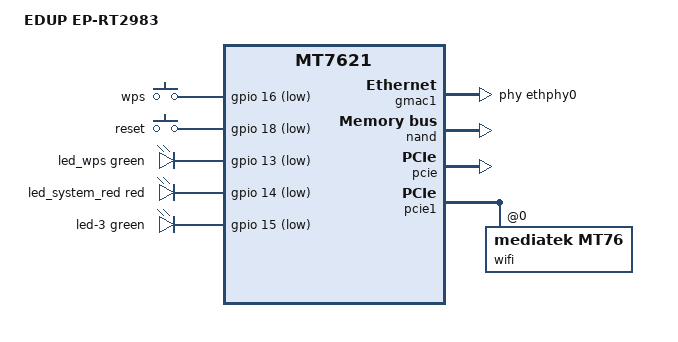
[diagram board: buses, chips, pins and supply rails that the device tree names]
// SPDX-License-Identifier: GPL-2.0-or-later OR MIT

#include "mt7621.dtsi"

#include <dt-bindings/gpio/gpio.h>
#include <dt-bindings/input/input.h>
#include <dt-bindings/leds/common.h>

/ {
	compatible = "edup,ep-rt2983", "mediatek,mt7621-soc";
	model = "EDUP EP-RT2983";

	aliases {
		label-mac-device = &gmac0;

		led-boot = &led_wps;
		led-failsafe = &led_system_red;
		led-upgrade = &led_system_red;
	};

	chosen {
		bootargs = "console=ttyS0,115200";
	};

	keys {
		compatible = "gpio-keys";

		key-0 {
			label = "wps";
			gpios = <&gpio 16 GPIO_ACTIVE_LOW>;
			linux,code = <KEY_WPS_BUTTON>;
			debounce-interval = <60>;
		};

		key-1 {
			label = "reset";
			gpios = <&gpio 18 GPIO_ACTIVE_LOW>;
			linux,code = <KEY_RESTART>;
			debounce-interval = <60>;
		};
	};

	leds {
		compatible = "gpio-leds";

		led_wps: led-1 {
			color = <LED_COLOR_ID_GREEN>;
			function = LED_FUNCTION_WPS;
			gpios = <&gpio 13 GPIO_ACTIVE_LOW>;
		};

		led_system_red: led-2 {
			color = <LED_COLOR_ID_RED>;
			function = LED_FUNCTION_INDICATOR;
			gpios = <&gpio 14 GPIO_ACTIVE_LOW>;
		};

		led-3 {
			color = <LED_COLOR_ID_GREEN>;
			function = LED_FUNCTION_WAN;
			gpios = <&gpio 15 GPIO_ACTIVE_LOW>;
		};
	};
};

&gmac0 {
	nvmem-cells = <&macaddr_factory_3fff4 0>;
	nvmem-cell-names = "mac-address";
};

&gmac1 {
	status = "okay";
	label = "wan";
	phy-handle = <&ethphy0>;

	nvmem-cells = <&macaddr_factory_3fffa 1>;
	nvmem-cell-names = "mac-address";
};

&ethphy0 {
	/delete-property/ interrupts;
};

&nand {
	status = "okay";

	mediatek,nmbm;
	mediatek,bmt-remap-range = <0x000000 0x580000>;

	partitions {
		compatible = "fixed-partitions";
		#address-cells = <1>;
		#size-cells = <1>;

		partition@0 {
			label = "u-boot";
			reg = <0x0 0x80000>;
			read-only;
		};

		partition@80000 {
			label = "Config";
			reg = <0x80000 0x80000>;
		};

		partition@100000 {
			label = "Factory";
			reg = <0x100000 0x80000>;
			read-only;

			nvmem-layout {
				compatible = "fixed-layout";
				#address-cells = <1>;
				#size-cells = <1>;

				eeprom_factory_0: eeprom@0 {
					reg = <0x0 0xe00>;
				};

				macaddr_factory_3fff4: macaddr@3fff4 {
					compatible = "mac-base";
					reg = <0x3fff4 0x6>;
					#nvmem-cell-cells = <1>;
				};

				macaddr_factory_3fffa: macaddr@3fffa {
					compatible = "mac-base";
					reg = <0x3fffa 0x6>;
					#nvmem-cell-cells = <1>;
				};
			};
		};

		partition@180000 {
			label = "firmware";
			reg = <0x180000 0x7680000>;

			compatible = "fixed-partitions";
			#address-cells = <1>;
			#size-cells = <1>;

			partition@0 {
				label = "kernel";
				reg = <0x0 0x400000>;
			};

			partition@400000 {
				label = "ubi";
				reg = <0x400000 0x7280000>;
			};
		};
	};
};

&pcie {
	status = "okay";
};

&pcie1 {
	wifi@0,0 {
		compatible = "mediatek,mt76";
		reg = <0x0000 0 0 0 0>;

		nvmem-cells = <&eeprom_factory_0>;
		nvmem-cell-names = "eeprom";

		mediatek,disable-radar-background;
	};
};

&state_default {
	gpio {
		groups = "jtag", "wdt";
		function = "gpio";
	};
};

&switch0 {
	ports {
		port@1 {
			status = "okay";
			label = "lan3";
		};

		port@2 {
			status = "okay";
			label = "lan2";
		};

		port@4 {
			status = "okay";
			label = "lan1";
		};
	};
};
